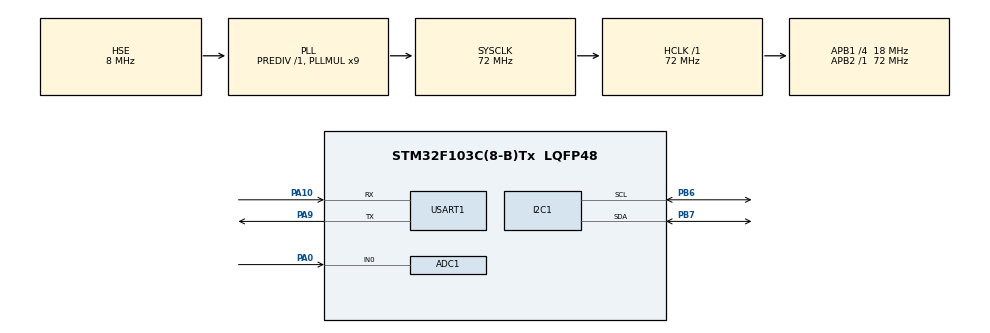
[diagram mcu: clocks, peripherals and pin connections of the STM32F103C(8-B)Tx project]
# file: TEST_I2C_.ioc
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ADC1.Channel-4\#ChannelRegularConversion=ADC_CHANNEL_0
ADC1.NbrOfConversionFlag=1
ADC1.Rank-4\#ChannelRegularConversion=1
ADC1.SamplingTime-4\#ChannelRegularConversion=ADC_SAMPLETIME_1CYCLE_5
ADC1.master=1
Dma.Request0=USART1_RX
Dma.USART1_RX.0.Direction=DMA_PERIPH_TO_MEMORY
Dma.USART1_RX.0.Instance=DMA1_Channel5
Dma.USART1_RX.0.MemDataAlignment=DMA_MDATAALIGN_BYTE
Dma.USART1_RX.0.MemInc=DMA_MINC_ENABLE
Dma.USART1_RX.0.Mode=DMA_NORMAL
Dma.USART1_RX.0.PeriphDataAlignment=DMA_PDATAALIGN_BYTE
Dma.USART1_RX.0.PeriphInc=DMA_PINC_DISABLE
Dma.USART1_RX.0.Priority=DMA_PRIORITY_LOW
Mcu.Family=STM32F1
Mcu.Name=STM32F103C(8-B)Tx
Mcu.Package=LQFP48
NVIC.DMA1_Channel5_IRQn=true\:0\:0\:false\:false\:true\:false\:true\:true
NVIC.PriorityGroup=NVIC_PRIORITYGROUP_4
NVIC.TIM2_IRQn=true\:0\:0\:false\:false\:true\:true\:true\:true
NVIC.USART1_IRQn=true\:0\:0\:false\:false\:true\:true\:true\:true
PA0-WKUP.Signal=ADCx_IN0
PA10.Mode=Asynchronous
PA10.Signal=USART1_RX
PA9.Mode=Asynchronous
PA9.Signal=USART1_TX
PB6.Mode=I2C
PB6.Signal=I2C1_SCL
PB7.Mode=I2C
PB7.Signal=I2C1_SDA
PD0-OSC_IN.Mode=HSE-External-Oscillator
PD0-OSC_IN.Signal=RCC_OSC_IN
PD1-OSC_OUT.Mode=HSE-External-Oscillator
PD1-OSC_OUT.Signal=RCC_OSC_OUT
ProjectManager.HeapSize=0x200
ProjectManager.StackSize=0x400
ProjectManager.TargetToolchain=STM32CubeIDE
RCC.ADCPresc=RCC_ADCPCLK2_DIV6
RCC.AHBFreq_Value=72000000
RCC.APB1CLKDivider=RCC_HCLK_DIV4
RCC.APB1Freq_Value=18000000
RCC.APB1TimFreq_Value=36000000
RCC.APB2Freq_Value=72000000
RCC.APB2TimFreq_Value=72000000
RCC.HCLKFreq_Value=72000000
RCC.PLLMUL=RCC_PLL_MUL9
RCC.PLLSourceVirtual=RCC_PLLSOURCE_HSE
RCC.SYSCLKFreq_VALUE=72000000
RCC.SYSCLKSource=RCC_SYSCLKSOURCE_PLLCLK
RCC.USBFreq_Value=72000000
SH.ADCx_IN0.0=ADC1_IN0,IN0
TIM2.Period=600
TIM2.Prescaler=35999
TIM3.Period=65535
TIM3.Prescaler=35999
USART1.Parity=PARITY_NONE
USART1.VirtualMode=VM_ASYNC
VP_TIM2_VS_ClockSourceINT.Mode=Internal
VP_TIM3_VS_ClockSourceINT.Mode=Internal
board=custom

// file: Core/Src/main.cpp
/* USER CODE BEGIN Header */
/**
  ******************************************************************************
  * @file           : main.c
  * @brief          : Main program body
  ******************************************************************************
  * @attention
  *
  * Copyright (c) 2023 STMicroelectronics.
  * All rights reserved.
  *
  * This software is licensed under terms that can be found in the LICENSE file
  * in the root directory of this software component.
  * If no LICENSE file comes with this software, it is provided AS-IS.
  *
  ******************************************************************************
  */
/* USER CODE END Header */
#include "main.h"

ADC_HandleTypeDef hadc1;

I2C_HandleTypeDef hi2c1;

TIM_HandleTypeDef htim2;
TIM_HandleTypeDef htim3;

UART_HandleTypeDef huart1;
DMA_HandleTypeDef hdma_usart1_rx;

void SystemClock_Config(void);
static void MX_GPIO_Init(void);
static void MX_DMA_Init(void);
static void MX_I2C1_Init(void);
static void MX_USART1_UART_Init(void);
static void MX_TIM3_Init(void);
static void MX_ADC1_Init(void);
static void MX_TIM2_Init(void);

/* USER CODE BEGIN 0 */

//#include "spider_funcs.h"
#include "servo_param.h"
#include "Spider.h"

#define DATA_SIZE 	4
#define CRC_DATA_SIZE 	(DATA_SIZE + 2)
#define COBS_DATA_SIZE 	(CRC_DATA_SIZE + 2)

uint8_t command_uart[COBS_DATA_SIZE];

pca9685_handle_t pcaR, pcaL;

SpiderLeg spl_r1({45,  75}, Servo(&pcaR, RC1, 270), Servo(&pcaR, RF1, 270), Servo(&pcaR, RT1, 180));
SpiderLeg spl_r2({90,   0}, Servo(&pcaR, RC2, 180), Servo(&pcaR, RF2, 180), Servo(&pcaR, RT2, 180));
SpiderLeg spl_r3({45, -80}, Servo(&pcaR, RC3, 270), Servo(&pcaR, RF3, 270), Servo(&pcaR, RT3, 180));

SpiderLeg spl_l1({-45,  75}, Servo(&pcaL, LC1, 270), Servo(&pcaL, LF1, 270), Servo(&pcaL, LT1, 180));
SpiderLeg spl_l2({-90,   0}, Servo(&pcaL, LC2, 180), Servo(&pcaL, LF2, 180), Servo(&pcaL, LT2, 180));
SpiderLeg spl_l3({-45, -80}, Servo(&pcaL, LC3, 270), Servo(&pcaL, LF3, 270), Servo(&pcaL, LT3, 180));

Spider spider(&spl_r1, &spl_r2, &spl_r3,
	      &spl_l1, &spl_l2, &spl_l3);
/* USER CODE END 0 */

int main(void)
{
  /* USER CODE BEGIN 1 */

  /*leg_r1.SetProgression({{DELTA_X13, ground_y, DELTA_Z13 - step_len	   }, {DELTA_X13, ground_y, DELTA_Z13 + step_len    }, air_y, {DELTA_X13, ground_y, DELTA_Z13 - step_len	   }, {DELTA_X13 - step_len * 1.5, ground_y, DELTA_Z13 + step_len   }});
  leg_r2.SetProgression({{DELTA_X2 , ground_y,           - step_len/1.5}, {DELTA_X2 , ground_y,             step_len/1.5}, air_y, {DELTA_X2 , ground_y,           - step_len}, {DELTA_X2 , ground_y,             step_len}});
  leg_r3.SetProgression({{DELTA_X13, ground_y,-DELTA_Z13 - step_len	   }, {DELTA_X13, ground_y,-DELTA_Z13 + step_len    }, air_y, {DELTA_X13 - step_len * 1.5, ground_y,-DELTA_Z13 - step_len    }, {DELTA_X13, ground_y,-DELTA_Z13 + step_len    }});

  leg_l1.SetProgression({{-DELTA_X13, ground_y, DELTA_Z13 - step_len    }, {-DELTA_X13, ground_y, DELTA_Z13 + step_len    }, air_y, {-DELTA_X13, ground_y, DELTA_Z13 - step_len    }, {-DELTA_X13 + step_len * 1.5, ground_y, DELTA_Z13 + step_len    }});
  leg_l2.SetProgression({{-DELTA_X2 , ground_y,           - step_len/1.5}, {-DELTA_X2 , ground_y,             step_len/1.5}, air_y, {-DELTA_X2 , ground_y,           - step_len}, {-DELTA_X2 , ground_y,             step_len}});
  leg_l3.SetProgression({{-DELTA_X13, ground_y,-DELTA_Z13 - step_len    }, {-DELTA_X13, ground_y,-DELTA_Z13 + step_len    }, air_y, {-DELTA_X13 + step_len * 1.5, ground_y, -DELTA_Z13 - step_len    }, {-DELTA_X13, ground_y,-DELTA_Z13 + step_len    }});
*/
  /* USER CODE END 1 */

  /* MCU Configuration--------------------------------------------------------*/

  /* Reset of all peripherals, Initializes the Flash interface and the Systick. */
  HAL_Init();

  /* Configure the system clock */
  SystemClock_Config();

  /* USER CODE BEGIN SysInit */
  /*__HAL_RCC_I2C1_CLK_ENABLE();
    HAL_Delay(100);
    __HAL_RCC_I2C1_FORCE_RESET();
    HAL_Delay(100);
    __HAL_RCC_I2C1_RELEASE_RESET();
    HAL_Delay(100);*/
  /* USER CODE END SysInit */

  /* Initialize all configured peripherals */
  MX_GPIO_Init();
  MX_DMA_Init();
  MX_I2C1_Init();
  MX_USART1_UART_Init();
  MX_TIM3_Init();
  MX_ADC1_Init();
  MX_TIM2_Init();
  /* USER CODE BEGIN 2 */

 // HAL_TIM_Base_Start(&htim3);
  HAL_UART_Receive_DMA(&huart1, command_uart, COBS_DATA_SIZE);

  //___INITIALIZE_PCA9685___
  pcaR.i2c_handle = &hi2c1;
  pcaR.device_address = 0x80;
  pcaR.inverted = false;

  pcaL.i2c_handle = &hi2c1;
  pcaL.device_address = 0x82;
  pcaL.inverted = false;

  pca9685_init(&pcaR); // Initialise driver (performs basic setup).
  pca9685_set_pwm_frequency(&pcaR, 50.0f); // Set PWM frequency.

  pca9685_init(&pcaL); // Initialise driver (performs basic setup).
  pca9685_set_pwm_frequency(&pcaL, 50.0f); // Set PWM frequency.
  //________________________
  //___INITIALIZE_SERVOS____
  spl_r1.servo_t.SetLimit(0, 125);
  spl_r2.servo_t.SetLimit(0, 125);
  spl_r3.servo_t.SetLimit(0, 125);

  spl_l1.servo_t.SetLimit(0, 125);
  spl_l2.servo_t.SetLimit(0, 125);
  spl_l3.servo_t.SetLimit(0, 125);

  spl_r1.delta_c += 5;
  spl_r3.delta_c -= 10;

  spl_r3.delta_f -= 3;
  spl_r3.delta_t -= 3;

  spl_l1.delta_t += 3;

  //spl_l2.delta_t += 5;
  //spl_r2.delta_t += 5;

  //spl_l2.delta_f -= 5;
  spl_r2.delta_f += 4;

/*
  spl_r1.MoveToDELTA();
  spl_r2.MoveToDELTA();
  spl_r3.MoveToDELTA();
  spl_l1.MoveToDELTA();
  spl_l2.MoveToDELTA();
  spl_l3.MoveToDELTA();
*/

  spider.SetMaxSpeed(0.03);

  //spider.SetMovementVector({0, 1});
  //spider.SetRotatePower(0);
  //spider.SetSpeedCommand(120);
  /* USER CODE END 2 */

  /* Infinite loop */
  /* USER CODE BEGIN WHILE */
  while (1)
  {
    spider.Update();// TODO: add deltaTime
   // if (__HAL_TIM_GET_COUNTER(&htim3) > 2) {
   //   __HAL_TIM_SET_COUNTER(&htim3, 0x0000);
  // }
    /* USER CODE END WHILE */

  }
}

void SystemClock_Config(void)
{
  RCC_OscInitTypeDef RCC_OscInitStruct = {0};
  RCC_ClkInitTypeDef RCC_ClkInitStruct = {0};
  RCC_PeriphCLKInitTypeDef PeriphClkInit = {0};

  /** Initializes the RCC Oscillators according to the specified parameters
  * in the RCC_OscInitTypeDef structure.
  */
  RCC_OscInitStruct.OscillatorType = RCC_OSCILLATORTYPE_HSE;
  RCC_OscInitStruct.HSEState = RCC_HSE_ON;
  RCC_OscInitStruct.HSEPredivValue = RCC_HSE_PREDIV_DIV1;
  RCC_OscInitStruct.HSIState = RCC_HSI_ON;
  RCC_OscInitStruct.PLL.PLLState = RCC_PLL_ON;
  RCC_OscInitStruct.PLL.PLLSource = RCC_PLLSOURCE_HSE;
  RCC_OscInitStruct.PLL.PLLMUL = RCC_PLL_MUL9;
  if (HAL_RCC_OscConfig(&RCC_OscInitStruct) != HAL_OK)
  {
    Error_Handler();
  }

  /** Initializes the CPU, AHB and APB buses clocks
  */
  RCC_ClkInitStruct.ClockType = RCC_CLOCKTYPE_HCLK|RCC_CLOCKTYPE_SYSCLK
                              |RCC_CLOCKTYPE_PCLK1|RCC_CLOCKTYPE_PCLK2;
  RCC_ClkInitStruct.SYSCLKSource = RCC_SYSCLKSOURCE_PLLCLK;
  RCC_ClkInitStruct.AHBCLKDivider = RCC_SYSCLK_DIV1;
  RCC_ClkInitStruct.APB1CLKDivider = RCC_HCLK_DIV4;
  RCC_ClkInitStruct.APB2CLKDivider = RCC_HCLK_DIV1;

  if (HAL_RCC_ClockConfig(&RCC_ClkInitStruct, FLASH_LATENCY_2) != HAL_OK)
  {
    Error_Handler();
  }
  PeriphClkInit.PeriphClockSelection = RCC_PERIPHCLK_ADC;
  PeriphClkInit.AdcClockSelection = RCC_ADCPCLK2_DIV6;
  if (HAL_RCCEx_PeriphCLKConfig(&PeriphClkInit) != HAL_OK)
  {
    Error_Handler();
  }
}

static void MX_ADC1_Init(void)
{

  ADC_ChannelConfTypeDef sConfig = {0};

  /** Common config
  */
  hadc1.Instance = ADC1;
  hadc1.Init.ScanConvMode = ADC_SCAN_DISABLE;
  hadc1.Init.ContinuousConvMode = DISABLE;
  hadc1.Init.DiscontinuousConvMode = DISABLE;
  hadc1.Init.ExternalTrigConv = ADC_SOFTWARE_START;
  hadc1.Init.DataAlign = ADC_DATAALIGN_RIGHT;
  hadc1.Init.NbrOfConversion = 1;
  if (HAL_ADC_Init(&hadc1) != HAL_OK)
  {
    Error_Handler();
  }

  /** Configure Regular Channel
  */
  sConfig.Channel = ADC_CHANNEL_0;
  sConfig.Rank = ADC_REGULAR_RANK_1;
  sConfig.SamplingTime = ADC_SAMPLETIME_1CYCLE_5;
  if (HAL_ADC_ConfigChannel(&hadc1, &sConfig) != HAL_OK)
  {
    Error_Handler();
  }

}

static void MX_I2C1_Init(void)
{

  hi2c1.Instance = I2C1;
  hi2c1.Init.ClockSpeed = 100000;
  hi2c1.Init.DutyCycle = I2C_DUTYCYCLE_2;
  hi2c1.Init.OwnAddress1 = 0;
  hi2c1.Init.AddressingMode = I2C_ADDRESSINGMODE_7BIT;
  hi2c1.Init.DualAddressMode = I2C_DUALADDRESS_DISABLE;
  hi2c1.Init.OwnAddress2 = 0;
  hi2c1.Init.GeneralCallMode = I2C_GENERALCALL_DISABLE;
  hi2c1.Init.NoStretchMode = I2C_NOSTRETCH_DISABLE;
  if (HAL_I2C_Init(&hi2c1) != HAL_OK)
  {
    Error_Handler();
  }

}

static void MX_TIM2_Init(void)
{

  TIM_ClockConfigTypeDef sClockSourceConfig = {0};
  TIM_MasterConfigTypeDef sMasterConfig = {0};

  htim2.Instance = TIM2;
  htim2.Init.Prescaler = 35999;
  htim2.Init.CounterMode = TIM_COUNTERMODE_UP;
  htim2.Init.Period = 600;
  htim2.Init.ClockDivision = TIM_CLOCKDIVISION_DIV1;
  htim2.Init.AutoReloadPreload = TIM_AUTORELOAD_PRELOAD_DISABLE;
  if (HAL_TIM_Base_Init(&htim2) != HAL_OK)
  {
    Error_Handler();
  }
  sClockSourceConfig.ClockSource = TIM_CLOCKSOURCE_INTERNAL;
  if (HAL_TIM_ConfigClockSource(&htim2, &sClockSourceConfig) != HAL_OK)
  {
    Error_Handler();
  }
  sMasterConfig.MasterOutputTrigger = TIM_TRGO_RESET;
  sMasterConfig.MasterSlaveMode = TIM_MASTERSLAVEMODE_DISABLE;
  if (HAL_TIMEx_MasterConfigSynchronization(&htim2, &sMasterConfig) != HAL_OK)
  {
    Error_Handler();
  }

}

static void MX_TIM3_Init(void)
{

  TIM_ClockConfigTypeDef sClockSourceConfig = {0};
  TIM_MasterConfigTypeDef sMasterConfig = {0};

  htim3.Instance = TIM3;
  htim3.Init.Prescaler = 35999;
  htim3.Init.CounterMode = TIM_COUNTERMODE_UP;
  htim3.Init.Period = 65535;
  htim3.Init.ClockDivision = TIM_CLOCKDIVISION_DIV1;
  htim3.Init.AutoReloadPreload = TIM_AUTORELOAD_PRELOAD_DISABLE;
  if (HAL_TIM_Base_Init(&htim3) != HAL_OK)
  {
    Error_Handler();
  }
  sClockSourceConfig.ClockSource = TIM_CLOCKSOURCE_INTERNAL;
  if (HAL_TIM_ConfigClockSource(&htim3, &sClockSourceConfig) != HAL_OK)
  {
    Error_Handler();
  }
  sMasterConfig.MasterOutputTrigger = TIM_TRGO_RESET;
  sMasterConfig.MasterSlaveMode = TIM_MASTERSLAVEMODE_DISABLE;
  if (HAL_TIMEx_MasterConfigSynchronization(&htim3, &sMasterConfig) != HAL_OK)
  {
    Error_Handler();
  }

}

static void MX_USART1_UART_Init(void)
{

  huart1.Instance = USART1;
  huart1.Init.BaudRate = 115200;
  huart1.Init.WordLength = UART_WORDLENGTH_8B;
  huart1.Init.StopBits = UART_STOPBITS_1;
  huart1.Init.Parity = UART_PARITY_NONE;
  huart1.Init.Mode = UART_MODE_TX_RX;
  huart1.Init.HwFlowCtl = UART_HWCONTROL_NONE;
  huart1.Init.OverSampling = UART_OVERSAMPLING_16;
  if (HAL_UART_Init(&huart1) != HAL_OK)
  {
    Error_Handler();
  }

}

static void MX_DMA_Init(void)
{

  /* DMA controller clock enable */
  __HAL_RCC_DMA1_CLK_ENABLE();

  /* DMA interrupt init */
  /* DMA1_Channel5_IRQn interrupt configuration */
  HAL_NVIC_SetPriority(DMA1_Channel5_IRQn, 0, 0);
  HAL_NVIC_EnableIRQ(DMA1_Channel5_IRQn);

}

static void MX_GPIO_Init(void)
{

  /* GPIO Ports Clock Enable */
  __HAL_RCC_GPIOD_CLK_ENABLE();
  __HAL_RCC_GPIOA_CLK_ENABLE();
  __HAL_RCC_GPIOB_CLK_ENABLE();

}

/* USER CODE BEGIN 4 */

#include "cobs.h"

uint8_t crc_data[CRC_DATA_SIZE];
uint8_t cobs_data[COBS_DATA_SIZE];

uint8_t index_data = 0;
uint8_t receive_data[COBS_DATA_SIZE];

void ReceivingData(uint8_t data[DATA_SIZE]){

  spider.SetMovementVector({((float)data[0] - 127) / 127, ((float)data[1] - 127) / 127});
  spider.SetRotatePower(((float)data[2] - 127) / 127);
  spider.SetSpeedCommand(data[3]);

}

void HAL_UART_RxCpltCallback(UART_HandleTypeDef *huart)
{
  if (huart->Instance == USART1)
  {
    // USART1 завершил прием данных

    //cobs_data = command_uart;

    if (CobsDecode(command_uart, crc_data, COBS_DATA_SIZE) > 0){

      uint16_t crc_calc = CalculateCrc(crc_data, DATA_SIZE);

      uint16_t crc = crc_data[DATA_SIZE];
      crc = (crc << 8) | crc_data[DATA_SIZE + 1];

      if (crc_calc == crc) {
	  ReceivingData(crc_data);
      }

      index_data++;
      if(index_data >= COBS_DATA_SIZE){
	index_data = 0;
      }
    }

    HAL_UART_Receive_DMA(&huart1, command_uart, COBS_DATA_SIZE);
  }
}

/* USER CODE END 4 */

void Error_Handler(void)
{
  __disable_irq();
  while (1)
  {
  }
}
